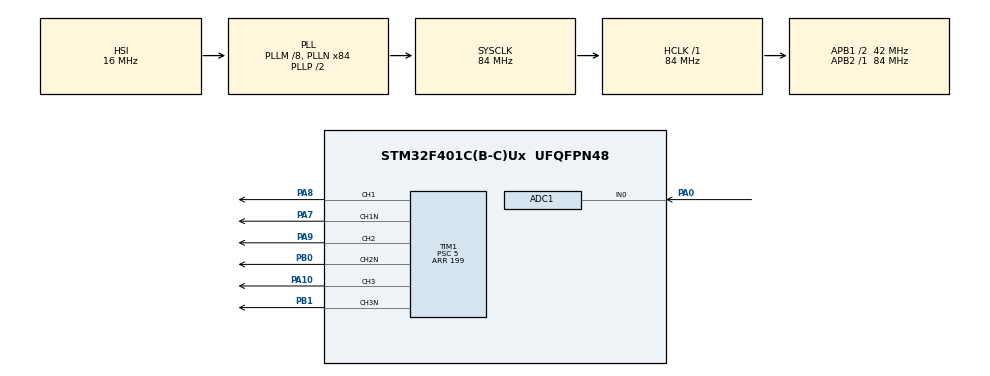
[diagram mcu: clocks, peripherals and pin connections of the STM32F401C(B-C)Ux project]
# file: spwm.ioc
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ADC1.Channel-0\#ChannelRegularConversion=ADC_CHANNEL_0
ADC1.ContinuousConvMode=ENABLE
ADC1.NbrOfConversionFlag=1
ADC1.Rank-0\#ChannelRegularConversion=1
ADC1.SamplingTime-0\#ChannelRegularConversion=ADC_SAMPLETIME_3CYCLES
ADC1.master=1
Mcu.Family=STM32F4
Mcu.Name=STM32F401C(B-C)Ux
Mcu.Package=UFQFPN48
NVIC.PriorityGroup=NVIC_PRIORITYGROUP_4
NVIC.TIM2_IRQn=true\:0\:0\:false\:false\:true\:true\:true\:true
PA0-WKUP.Signal=ADCx_IN0
PA10.Signal=S_TIM1_CH3
PA13.Mode=Serial_Wire
PA13.Signal=SYS_JTMS-SWDIO
PA14.Mode=Serial_Wire
PA14.Signal=SYS_JTCK-SWCLK
PA7.Mode=PWM Generation1 CH1 CH1N
PA7.Signal=TIM1_CH1N
PA8.Signal=S_TIM1_CH1
PA9.Signal=S_TIM1_CH2
PB0.Mode=PWM Generation2 CH2 CH2N
PB0.Signal=TIM1_CH2N
PB1.Mode=PWM Generation3 CH3 CH3N
PB1.Signal=TIM1_CH3N
PH0\ -\ OSC_IN.Mode=HSE-External-Oscillator
PH0\ -\ OSC_IN.Signal=RCC_OSC_IN
PH1\ -\ OSC_OUT.Mode=HSE-External-Oscillator
PH1\ -\ OSC_OUT.Signal=RCC_OSC_OUT
ProjectManager.HeapSize=0x200
ProjectManager.StackSize=0x400
ProjectManager.TargetToolchain=MDK-ARM V5.32
RCC.48MHZClocksFreq_Value=42000000
RCC.AHBFreq_Value=84000000
RCC.APB1CLKDivider=RCC_HCLK_DIV2
RCC.APB1Freq_Value=42000000
RCC.APB1TimFreq_Value=84000000
RCC.APB2Freq_Value=84000000
RCC.APB2TimFreq_Value=84000000
RCC.CortexFreq_Value=84000000
RCC.HCLKFreq_Value=84000000
RCC.HSE_VALUE=25000000
RCC.HSI_VALUE=16000000
RCC.LSE_VALUE=32768
RCC.PLLM=8
RCC.PLLN=84
RCC.SYSCLKFreq_VALUE=84000000
RCC.SYSCLKSource=RCC_SYSCLKSOURCE_PLLCLK
RCC.VCOOutputFreq_Value=168000000
SH.ADCx_IN0.0=ADC1_IN0,IN0
SH.S_TIM1_CH1.0=TIM1_CH1,PWM Generation1 CH1 CH1N
SH.S_TIM1_CH2.0=TIM1_CH2,PWM Generation2 CH2 CH2N
SH.S_TIM1_CH3.0=TIM1_CH3,PWM Generation3 CH3 CH3N
TIM1.AutoReloadPreload=TIM_AUTORELOAD_PRELOAD_ENABLE
TIM1.AutomaticOutput=TIM_AUTOMATICOUTPUT_ENABLE
TIM1.BreakState=TIM_BREAK_DISABLE
TIM1.Channel-PWM\ Generation1\ CH1\ CH1N=TIM_CHANNEL_1
TIM1.Channel-PWM\ Generation2\ CH2\ CH2N=TIM_CHANNEL_2
TIM1.Channel-PWM\ Generation3\ CH3\ CH3N=TIM_CHANNEL_3
TIM1.CounterMode=TIM_COUNTERMODE_CENTERALIGNED1
TIM1.DeadTime=50
TIM1.OCNPolarity_1=TIM_OCNPOLARITY_HIGH
TIM1.OCNPolarity_2=TIM_OCNPOLARITY_HIGH
TIM1.OCNPolarity_3=TIM_OCNPOLARITY_HIGH
TIM1.Period=199
TIM1.Prescaler=5
TIM1.RepetitionCounter=50
TIM2.Period=199
TIM2.Prescaler=5
VP_TIM1_VS_ClockSourceINT.Mode=Internal
VP_TIM2_VS_ClockSourceINT.Mode=Internal
board=custom

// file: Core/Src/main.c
/* USER CODE BEGIN Header */
/**
  ******************************************************************************
  * @file           : main.c
  * @brief          : Main program body
  ******************************************************************************
  * @attention
  *
  * Copyright (c) 2023 STMicroelectronics.
  * All rights reserved.
  *
  * This software is licensed under terms that can be found in the LICENSE file
  * in the root directory of this software component.
  * If no LICENSE file comes with this software, it is provided AS-IS.
  *
  ******************************************************************************
  */
/* USER CODE END Header */
#include "main.h"

/* USER CODE BEGIN Includes */
#include <math.h>
/* USER CODE END Includes */

ADC_HandleTypeDef hadc1;

TIM_HandleTypeDef htim1;
TIM_HandleTypeDef htim2;

/* USER CODE BEGIN PV */
uint8_t spwm[21000];
uint32_t freq = 5;
double pointNum;
uint32_t Counter_sine1;
uint32_t Counter_sine2;
uint32_t Counter_sine3 ;
uint32_t ADC_Value;
uint32_t Last_ADC_Value1 = 0 ;
uint32_t Last_ADC_Valuebuf;

/* USER CODE END PV */

void SystemClock_Config(void);
static void MX_GPIO_Init(void);
static void MX_TIM1_Init(void);
static void MX_TIM2_Init(void);
static void MX_ADC1_Init(void);
/* USER CODE BEGIN PFP */
void changeSpwm(void);
/* USER CODE END PFP */

int main(void)
{

  /* MCU Configuration--------------------------------------------------------*/

  /* Reset of all peripherals, Initializes the Flash interface and the Systick. */
  HAL_Init();

  /* Configure the system clock */
  SystemClock_Config();

  /* Initialize all configured peripherals */
  MX_GPIO_Init();
  MX_TIM1_Init();
  MX_TIM2_Init();
  MX_ADC1_Init();
  /* USER CODE BEGIN 2 */
  changeSpwm();
  HAL_TIM_PWM_Start(&htim1,TIM_CHANNEL_1);
  HAL_TIM_PWM_Start(&htim1,TIM_CHANNEL_2);
  HAL_TIM_PWM_Start(&htim1,TIM_CHANNEL_3);
  HAL_TIMEx_PWMN_Start(&htim1,TIM_CHANNEL_1);
  HAL_TIMEx_PWMN_Start(&htim1,TIM_CHANNEL_2);
  HAL_TIMEx_PWMN_Start(&htim1,TIM_CHANNEL_3);
  HAL_TIM_Base_Start_IT(&htim2);

  /* USER CODE END 2 */

  /* Infinite loop */
  while (1)
  {
    HAL_ADC_Start(&hadc1);     //启动ADC转换
    HAL_ADC_PollForConversion(&hadc1, 50);   //等待转换完成，50为最大等待时间，单位为ms
    for(uint8_t i = 10;i>1;i--)
		{
			ADC_Value = HAL_ADC_GetValue(&hadc1);
			Last_ADC_Valuebuf = ADC_Value + Last_ADC_Valuebuf;
		}
		Last_ADC_Valuebuf = Last_ADC_Valuebuf/10;
    if (Last_ADC_Valuebuf - Last_ADC_Value1 > 200)
    {
      Last_ADC_Value1 = Last_ADC_Valuebuf;
      freq = 5 + (Last_ADC_Value1*3.3f/4096)*80;
      changeSpwm();
    }
    /* freq = 5 + (Last_ADC_Value1*3.3f/4096)*30;
    changeSpwm();
    HAL_Delay(1000); */
  }
}

void SystemClock_Config(void)
{
  RCC_OscInitTypeDef RCC_OscInitStruct = {0};
  RCC_ClkInitTypeDef RCC_ClkInitStruct = {0};

  /** Configure the main internal regulator output voltage
  */
  __HAL_RCC_PWR_CLK_ENABLE();
  __HAL_PWR_VOLTAGESCALING_CONFIG(PWR_REGULATOR_VOLTAGE_SCALE2);

  /** Initializes the RCC Oscillators according to the specified parameters
  * in the RCC_OscInitTypeDef structure.
  */
  RCC_OscInitStruct.OscillatorType = RCC_OSCILLATORTYPE_HSI;
  RCC_OscInitStruct.HSIState = RCC_HSI_ON;
  RCC_OscInitStruct.HSICalibrationValue = RCC_HSICALIBRATION_DEFAULT;
  RCC_OscInitStruct.PLL.PLLState = RCC_PLL_ON;
  RCC_OscInitStruct.PLL.PLLSource = RCC_PLLSOURCE_HSI;
  RCC_OscInitStruct.PLL.PLLM = 8;
  RCC_OscInitStruct.PLL.PLLN = 84;
  RCC_OscInitStruct.PLL.PLLP = RCC_PLLP_DIV2;
  RCC_OscInitStruct.PLL.PLLQ = 4;
  if (HAL_RCC_OscConfig(&RCC_OscInitStruct) != HAL_OK)
  {
    Error_Handler();
  }

  /** Initializes the CPU, AHB and APB buses clocks
  */
  RCC_ClkInitStruct.ClockType = RCC_CLOCKTYPE_HCLK|RCC_CLOCKTYPE_SYSCLK
                              |RCC_CLOCKTYPE_PCLK1|RCC_CLOCKTYPE_PCLK2;
  RCC_ClkInitStruct.SYSCLKSource = RCC_SYSCLKSOURCE_PLLCLK;
  RCC_ClkInitStruct.AHBCLKDivider = RCC_SYSCLK_DIV1;
  RCC_ClkInitStruct.APB1CLKDivider = RCC_HCLK_DIV2;
  RCC_ClkInitStruct.APB2CLKDivider = RCC_HCLK_DIV1;

  if (HAL_RCC_ClockConfig(&RCC_ClkInitStruct, FLASH_LATENCY_2) != HAL_OK)
  {
    Error_Handler();
  }
}

static void MX_ADC1_Init(void)
{

  ADC_ChannelConfTypeDef sConfig = {0};

  /** Configure the global features of the ADC (Clock, Resolution, Data Alignment and number of conversion)
  */
  hadc1.Instance = ADC1;
  hadc1.Init.ClockPrescaler = ADC_CLOCK_SYNC_PCLK_DIV4;
  hadc1.Init.Resolution = ADC_RESOLUTION_12B;
  hadc1.Init.ScanConvMode = DISABLE;
  hadc1.Init.ContinuousConvMode = ENABLE;
  hadc1.Init.DiscontinuousConvMode = DISABLE;
  hadc1.Init.ExternalTrigConvEdge = ADC_EXTERNALTRIGCONVEDGE_NONE;
  hadc1.Init.ExternalTrigConv = ADC_SOFTWARE_START;
  hadc1.Init.DataAlign = ADC_DATAALIGN_RIGHT;
  hadc1.Init.NbrOfConversion = 1;
  hadc1.Init.DMAContinuousRequests = DISABLE;
  hadc1.Init.EOCSelection = ADC_EOC_SINGLE_CONV;
  if (HAL_ADC_Init(&hadc1) != HAL_OK)
  {
    Error_Handler();
  }

  /** Configure for the selected ADC regular channel its corresponding rank in the sequencer and its sample time.
  */
  sConfig.Channel = ADC_CHANNEL_0;
  sConfig.Rank = 1;
  sConfig.SamplingTime = ADC_SAMPLETIME_3CYCLES;
  if (HAL_ADC_ConfigChannel(&hadc1, &sConfig) != HAL_OK)
  {
    Error_Handler();
  }

}

static void MX_TIM1_Init(void)
{

  TIM_ClockConfigTypeDef sClockSourceConfig = {0};
  TIM_MasterConfigTypeDef sMasterConfig = {0};
  TIM_OC_InitTypeDef sConfigOC = {0};
  TIM_BreakDeadTimeConfigTypeDef sBreakDeadTimeConfig = {0};

  htim1.Instance = TIM1;
  htim1.Init.Prescaler = 5;
  htim1.Init.CounterMode = TIM_COUNTERMODE_CENTERALIGNED1;
  htim1.Init.Period = 199;
  htim1.Init.ClockDivision = TIM_CLOCKDIVISION_DIV1;
  htim1.Init.RepetitionCounter = 50;
  htim1.Init.AutoReloadPreload = TIM_AUTORELOAD_PRELOAD_ENABLE;
  if (HAL_TIM_Base_Init(&htim1) != HAL_OK)
  {
    Error_Handler();
  }
  sClockSourceConfig.ClockSource = TIM_CLOCKSOURCE_INTERNAL;
  if (HAL_TIM_ConfigClockSource(&htim1, &sClockSourceConfig) != HAL_OK)
  {
    Error_Handler();
  }
  if (HAL_TIM_PWM_Init(&htim1) != HAL_OK)
  {
    Error_Handler();
  }
  sMasterConfig.MasterOutputTrigger = TIM_TRGO_RESET;
  sMasterConfig.MasterSlaveMode = TIM_MASTERSLAVEMODE_DISABLE;
  if (HAL_TIMEx_MasterConfigSynchronization(&htim1, &sMasterConfig) != HAL_OK)
  {
    Error_Handler();
  }
  sConfigOC.OCMode = TIM_OCMODE_PWM1;
  sConfigOC.Pulse = 0;
  sConfigOC.OCPolarity = TIM_OCPOLARITY_HIGH;
  sConfigOC.OCNPolarity = TIM_OCNPOLARITY_HIGH;
  sConfigOC.OCFastMode = TIM_OCFAST_DISABLE;
  sConfigOC.OCIdleState = TIM_OCIDLESTATE_RESET;
  sConfigOC.OCNIdleState = TIM_OCNIDLESTATE_RESET;
  if (HAL_TIM_PWM_ConfigChannel(&htim1, &sConfigOC, TIM_CHANNEL_1) != HAL_OK)
  {
    Error_Handler();
  }
  if (HAL_TIM_PWM_ConfigChannel(&htim1, &sConfigOC, TIM_CHANNEL_2) != HAL_OK)
  {
    Error_Handler();
  }
  if (HAL_TIM_PWM_ConfigChannel(&htim1, &sConfigOC, TIM_CHANNEL_3) != HAL_OK)
  {
    Error_Handler();
  }
  sBreakDeadTimeConfig.OffStateRunMode = TIM_OSSR_DISABLE;
  sBreakDeadTimeConfig.OffStateIDLEMode = TIM_OSSI_DISABLE;
  sBreakDeadTimeConfig.LockLevel = TIM_LOCKLEVEL_OFF;
  sBreakDeadTimeConfig.DeadTime = 50;
  sBreakDeadTimeConfig.BreakState = TIM_BREAK_DISABLE;
  sBreakDeadTimeConfig.BreakPolarity = TIM_BREAKPOLARITY_HIGH;
  sBreakDeadTimeConfig.AutomaticOutput = TIM_AUTOMATICOUTPUT_ENABLE;
  if (HAL_TIMEx_ConfigBreakDeadTime(&htim1, &sBreakDeadTimeConfig) != HAL_OK)
  {
    Error_Handler();
  }
  HAL_TIM_MspPostInit(&htim1);

}

static void MX_TIM2_Init(void)
{

  TIM_ClockConfigTypeDef sClockSourceConfig = {0};
  TIM_MasterConfigTypeDef sMasterConfig = {0};

  htim2.Instance = TIM2;
  htim2.Init.Prescaler = 5;
  htim2.Init.CounterMode = TIM_COUNTERMODE_UP;
  htim2.Init.Period = 199;
  htim2.Init.ClockDivision = TIM_CLOCKDIVISION_DIV1;
  htim2.Init.AutoReloadPreload = TIM_AUTORELOAD_PRELOAD_DISABLE;
  if (HAL_TIM_Base_Init(&htim2) != HAL_OK)
  {
    Error_Handler();
  }
  sClockSourceConfig.ClockSource = TIM_CLOCKSOURCE_INTERNAL;
  if (HAL_TIM_ConfigClockSource(&htim2, &sClockSourceConfig) != HAL_OK)
  {
    Error_Handler();
  }
  sMasterConfig.MasterOutputTrigger = TIM_TRGO_RESET;
  sMasterConfig.MasterSlaveMode = TIM_MASTERSLAVEMODE_DISABLE;
  if (HAL_TIMEx_MasterConfigSynchronization(&htim2, &sMasterConfig) != HAL_OK)
  {
    Error_Handler();
  }

}

static void MX_GPIO_Init(void)
{

  /* GPIO Ports Clock Enable */
  __HAL_RCC_GPIOH_CLK_ENABLE();
  __HAL_RCC_GPIOA_CLK_ENABLE();
  __HAL_RCC_GPIOB_CLK_ENABLE();

}

/* USER CODE BEGIN 4 */
void changeSpwm(void)
{
  const double pi = acos(-1.0);
  double x,r;
  double s;
  pointNum = 70000 / freq;

  if (freq > 0)
  {
    for (uint16_t i = 0; i < pointNum; i++)
    {
      x = 360 / pointNum;
      r=x*pi/180;
      r *= i;
      s=80*sin(r) + 100;
      spwm[i] = s;
    }
  }
  Counter_sine1 = 0;
  Counter_sine2 = pointNum*0.33333333333;
  Counter_sine3 = pointNum*0.66666666666;

}
void HAL_TIM_PeriodElapsedCallback(TIM_HandleTypeDef *htim)
{
  if(Counter_sine1>=pointNum)
	{
		Counter_sine1 = 0;
	}
	if(Counter_sine2>=pointNum)
	{
		Counter_sine2 = 0;
	}
	if(Counter_sine3>=pointNum)
	{
		Counter_sine3 = 0;
	}
  TIM1->CCR1 = spwm[Counter_sine1++];
  TIM1->CCR2 = spwm[Counter_sine2++];
  TIM1->CCR3 = spwm[Counter_sine3++];
}
/* USER CODE END 4 */

void Error_Handler(void)
{
  __disable_irq();
  while (1)
  {
  }
}
